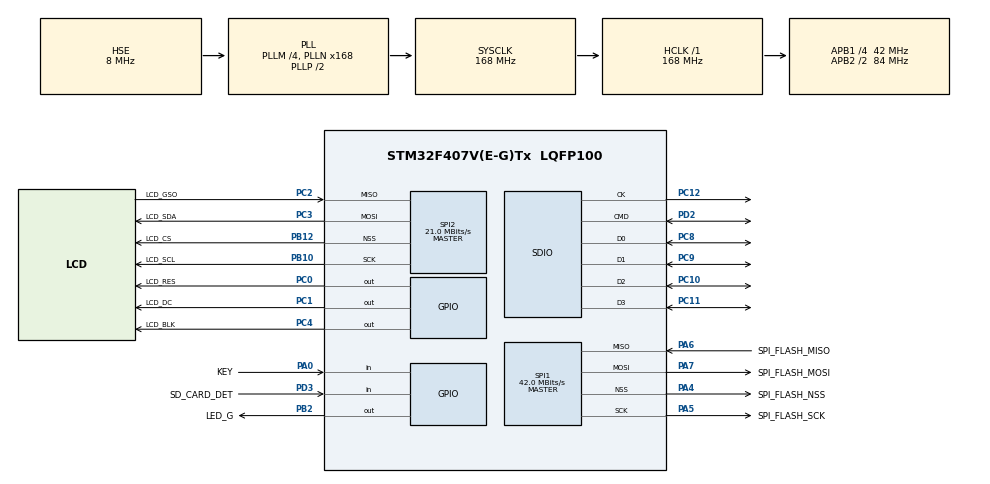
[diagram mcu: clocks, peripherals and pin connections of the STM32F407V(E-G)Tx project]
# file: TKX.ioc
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Dma.Request0=SDIO
Dma.Request1=SPI1_RX
Dma.Request2=SPI1_TX
Dma.Request3=SPI2_RX
Dma.Request4=SPI2_TX
Dma.SDIO.0.Direction=DMA_PERIPH_TO_MEMORY
Dma.SDIO.0.FIFOMode=DMA_FIFOMODE_ENABLE
Dma.SDIO.0.FIFOThreshold=DMA_FIFO_THRESHOLD_FULL
Dma.SDIO.0.Instance=DMA2_Stream3
Dma.SDIO.0.MemBurst=DMA_MBURST_INC4
Dma.SDIO.0.MemDataAlignment=DMA_MDATAALIGN_WORD
Dma.SDIO.0.MemInc=DMA_MINC_ENABLE
Dma.SDIO.0.Mode=DMA_PFCTRL
Dma.SDIO.0.PeriphBurst=DMA_PBURST_INC4
Dma.SDIO.0.PeriphDataAlignment=DMA_PDATAALIGN_WORD
Dma.SDIO.0.PeriphInc=DMA_PINC_DISABLE
Dma.SDIO.0.Priority=DMA_PRIORITY_HIGH
Dma.SPI1_RX.1.Direction=DMA_PERIPH_TO_MEMORY
Dma.SPI1_RX.1.FIFOMode=DMA_FIFOMODE_DISABLE
Dma.SPI1_RX.1.Instance=DMA2_Stream0
Dma.SPI1_RX.1.MemDataAlignment=DMA_MDATAALIGN_BYTE
Dma.SPI1_RX.1.MemInc=DMA_MINC_ENABLE
Dma.SPI1_RX.1.Mode=DMA_NORMAL
Dma.SPI1_RX.1.PeriphDataAlignment=DMA_PDATAALIGN_BYTE
Dma.SPI1_RX.1.PeriphInc=DMA_PINC_DISABLE
Dma.SPI1_RX.1.Priority=DMA_PRIORITY_LOW
Dma.SPI1_TX.2.Direction=DMA_MEMORY_TO_PERIPH
Dma.SPI1_TX.2.FIFOMode=DMA_FIFOMODE_DISABLE
Dma.SPI1_TX.2.Instance=DMA2_Stream5
Dma.SPI1_TX.2.MemDataAlignment=DMA_MDATAALIGN_BYTE
Dma.SPI1_TX.2.MemInc=DMA_MINC_ENABLE
Dma.SPI1_TX.2.Mode=DMA_NORMAL
Dma.SPI1_TX.2.PeriphDataAlignment=DMA_PDATAALIGN_BYTE
Dma.SPI1_TX.2.PeriphInc=DMA_PINC_DISABLE
Dma.SPI1_TX.2.Priority=DMA_PRIORITY_LOW
Dma.SPI2_RX.3.Direction=DMA_PERIPH_TO_MEMORY
Dma.SPI2_RX.3.FIFOMode=DMA_FIFOMODE_DISABLE
Dma.SPI2_RX.3.Instance=DMA1_Stream3
Dma.SPI2_RX.3.MemDataAlignment=DMA_MDATAALIGN_BYTE
Dma.SPI2_RX.3.MemInc=DMA_MINC_ENABLE
Dma.SPI2_RX.3.Mode=DMA_NORMAL
Dma.SPI2_RX.3.PeriphDataAlignment=DMA_PDATAALIGN_BYTE
Dma.SPI2_RX.3.PeriphInc=DMA_PINC_DISABLE
Dma.SPI2_RX.3.Priority=DMA_PRIORITY_LOW
Dma.SPI2_TX.4.Direction=DMA_MEMORY_TO_PERIPH
Dma.SPI2_TX.4.FIFOMode=DMA_FIFOMODE_ENABLE
Dma.SPI2_TX.4.FIFOThreshold=DMA_FIFO_THRESHOLD_FULL
Dma.SPI2_TX.4.Instance=DMA1_Stream4
Dma.SPI2_TX.4.MemBurst=DMA_MBURST_SINGLE
Dma.SPI2_TX.4.MemDataAlignment=DMA_MDATAALIGN_BYTE
Dma.SPI2_TX.4.MemInc=DMA_MINC_ENABLE
Dma.SPI2_TX.4.Mode=DMA_NORMAL
Dma.SPI2_TX.4.PeriphBurst=DMA_PBURST_SINGLE
Dma.SPI2_TX.4.PeriphDataAlignment=DMA_PDATAALIGN_BYTE
Dma.SPI2_TX.4.PeriphInc=DMA_PINC_DISABLE
Dma.SPI2_TX.4.Priority=DMA_PRIORITY_LOW
FATFS.BSP.number=1
FATFS0.BSP.STBoard=false
FATFS0.BSP.api=Unknown
FATFS0.BSP.instance=PD3
FATFS0.BSP.ip=GPIO
FATFS0.BSP.mode=Input
FATFS0.BSP.name=Detect_SDIO
FATFS0.BSP.solution=PD3
FREERTOS.INCLUDE_pcTaskGetTaskName=1
FREERTOS.Tasks01=defaultTask,24,128,StartDefaultTask,Default,NULL,Dynamic,NULL,NULL;keyTask,24,128,StartKeyTask,Default,NULL,Dynamic,NULL,NULL;ledTask,24,128,StartLedTask,Default,NULL,Dynamic,NULL,NULL;sdCardTask,24,256,StartSDCardTask,Default,NULL,Dynamic,NULL,NULL;lcdTask,24,512,StartLCDTask,Default,NULL,Dynamic,NULL,NULL
FREERTOS.configCHECK_FOR_STACK_OVERFLOW=1
FREERTOS.configENABLE_FPU=1
FREERTOS.configGENERATE_RUN_TIME_STATS=1
FREERTOS.configRECORD_STACK_HIGH_ADDRESS=1
Mcu.Family=STM32F4
Mcu.Name=STM32F407V(E-G)Tx
Mcu.Package=LQFP100
NVIC.DMA1_Stream3_IRQn=true\:5\:0\:false\:false\:true\:true\:false\:true\:true
NVIC.DMA1_Stream4_IRQn=true\:5\:0\:false\:false\:true\:true\:false\:true\:true
NVIC.DMA2_Stream0_IRQn=true\:5\:0\:false\:false\:true\:true\:false\:true\:true
NVIC.DMA2_Stream3_IRQn=true\:5\:0\:false\:false\:true\:true\:false\:true\:true
NVIC.DMA2_Stream5_IRQn=true\:5\:0\:false\:false\:true\:true\:false\:true\:true
NVIC.PriorityGroup=NVIC_PRIORITYGROUP_4
NVIC.TIM2_IRQn=true\:15\:0\:false\:false\:true\:false\:false\:true\:true
NVIC.TimeBase=TIM2_IRQn
NVIC.TimeBaseIP=TIM2
PA0-WKUP.GPIO_Label=KEY
PA0-WKUP.Signal=GPIO_Input
PA13.Mode=Trace_Asynchronous_SW
PA13.Signal=SYS_JTMS-SWDIO
PA14.Mode=Trace_Asynchronous_SW
PA14.Signal=SYS_JTCK-SWCLK
PA4.GPIO_Label=SPI_FLASH_NSS
PA4.Mode=NSS_Signal_Hard_Output
PA4.Signal=SPI1_NSS
PA5.GPIO_Label=SPI_FLASH_SCK
PA5.Mode=Full_Duplex_Master
PA5.Signal=SPI1_SCK
PA6.GPIO_Label=SPI_FLASH_MISO
PA6.Mode=Full_Duplex_Master
PA6.Signal=SPI1_MISO
PA7.GPIO_Label=SPI_FLASH_MOSI
PA7.Mode=Full_Duplex_Master
PA7.Signal=SPI1_MOSI
PB10.GPIO_Label=LCD_SCL
PB10.Mode=Full_Duplex_Master
PB10.Signal=SPI2_SCK
PB12.GPIO_Label=LCD_CS
PB12.Mode=NSS_Signal_Hard_Output
PB12.Signal=SPI2_NSS
PB2.GPIO_Label=LED_G
PB2.Signal=GPIO_Output
PB3.Mode=Trace_Asynchronous_SW
PB3.Signal=SYS_JTDO-SWO
PC0.GPIO_Label=LCD_RES
PC0.Signal=GPIO_Output
PC1.GPIO_Label=LCD_DC
PC1.Signal=GPIO_Output
PC10.Mode=SD_4_bits_Wide_bus
PC10.Signal=SDIO_D2
PC11.Mode=SD_4_bits_Wide_bus
PC11.Signal=SDIO_D3
PC12.Mode=SD_4_bits_Wide_bus
PC12.Signal=SDIO_CK
PC14-OSC32_IN.Mode=LSE-External-Oscillator
PC14-OSC32_IN.Signal=RCC_OSC32_IN
PC15-OSC32_OUT.Mode=LSE-External-Oscillator
PC15-OSC32_OUT.Signal=RCC_OSC32_OUT
PC2.GPIO_Label=LCD_GSO
PC2.Mode=Full_Duplex_Master
PC2.Signal=SPI2_MISO
PC3.GPIO_Label=LCD_SDA
PC3.Mode=Full_Duplex_Master
PC3.Signal=SPI2_MOSI
PC4.GPIO_Label=LCD_BLK
PC4.Signal=GPIO_Output
PC8.Mode=SD_4_bits_Wide_bus
PC8.Signal=SDIO_D0
PC9.Mode=SD_4_bits_Wide_bus
PC9.Signal=SDIO_D1
PD2.Mode=SD_4_bits_Wide_bus
PD2.Signal=SDIO_CMD
PD3.GPIO_Label=SD_CARD_DET
PD3.Signal=GPIO_Input
PH0-OSC_IN.Mode=HSE-External-Oscillator
PH0-OSC_IN.Signal=RCC_OSC_IN
PH1-OSC_OUT.Mode=HSE-External-Oscillator
PH1-OSC_OUT.Signal=RCC_OSC_OUT
ProjectManager.HeapSize=0x1800
ProjectManager.StackSize=0x800
ProjectManager.TargetToolchain=CMake
RCC.48MHZClocksFreq_Value=48000000
RCC.AHBFreq_Value=168000000
RCC.APB1CLKDivider=RCC_HCLK_DIV4
RCC.APB1Freq_Value=42000000
RCC.APB1TimFreq_Value=84000000
RCC.APB2CLKDivider=RCC_HCLK_DIV2
RCC.APB2Freq_Value=84000000
RCC.APB2TimFreq_Value=168000000
RCC.CortexFreq_Value=168000000
RCC.HCLKFreq_Value=168000000
RCC.HSE_VALUE=8000000
RCC.HSI_VALUE=16000000
RCC.PLLM=4
RCC.PLLN=168
RCC.PLLQ=7
RCC.PLLSourceVirtual=RCC_PLLSOURCE_HSE
RCC.SYSCLKFreq_VALUE=168000000
RCC.SYSCLKSource=RCC_SYSCLKSOURCE_PLLCLK
RCC.VCOOutputFreq_Value=336000000
SDIO.ClockBypass=SDIO_CLOCK_BYPASS_DISABLE
SDIO.ClockDiv=2
SPI1.BaudRatePrescaler=SPI_BAUDRATEPRESCALER_2
SPI1.CalculateBaudRate=42.0 MBits/s
SPI1.Direction=SPI_DIRECTION_2LINES
SPI1.Mode=SPI_MODE_MASTER
SPI1.VirtualNSS=VM_NSSHARD
SPI1.VirtualType=VM_MASTER
SPI2.CalculateBaudRate=21.0 MBits/s
SPI2.Direction=SPI_DIRECTION_2LINES
SPI2.Mode=SPI_MODE_MASTER
SPI2.VirtualNSS=VM_NSSHARD
SPI2.VirtualType=VM_MASTER
VP_FATFS_VS_SDIO.Mode=SDIO
VP_FREERTOS_VS_CMSIS_V2.Mode=CMSIS_V2
VP_SYS_VS_tim2.Mode=TIM2
board=custom

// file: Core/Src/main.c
/* USER CODE BEGIN Header */
/**
 ******************************************************************************
 * @file           : main.c
 * @brief          : Main program body
 ******************************************************************************
 * @attention
 *
 * Copyright (c) 2025 STMicroelectronics.
 * All rights reserved.
 *
 * This software is licensed under terms that can be found in the LICENSE file
 * in the root directory of this software component.
 * If no LICENSE file comes with this software, it is provided AS-IS.
 *
 ******************************************************************************
 */
/* USER CODE END Header */
#include "main.h"
#include "cmsis_os.h"
#include "dma.h"
#include "fatfs.h"
#include "sdio.h"
#include "spi.h"
#include "gpio.h"

void SystemClock_Config(void);
void MX_FREERTOS_Init(void);

int main(void)
{

  /* MCU Configuration--------------------------------------------------------*/

  /* Reset of all peripherals, Initializes the Flash interface and the Systick. */
  HAL_Init();

  /* Configure the system clock */
  SystemClock_Config();

  /* Initialize all configured peripherals */
  MX_GPIO_Init();
  MX_DMA_Init();
  MX_SDIO_SD_Init();
  MX_SPI1_Init();
  MX_FATFS_Init();
  MX_SPI2_Init();
  /* USER CODE BEGIN 2 */
  HAL_SD_DeInit(&hsd);  // 先反初始化

  // 按照正确的流程重新配置并初始化
  hsd.Init.BusWide = SDIO_BUS_WIDE_1B;
  if (HAL_SD_Init(&hsd) != HAL_OK) {
    Error_Handler();
  }

  if (HAL_SD_ConfigWideBusOperation(&hsd, SDIO_BUS_WIDE_4B) != HAL_OK) {
    Error_Handler();
  }
  /* USER CODE END 2 */

  /* Init scheduler */
  osKernelInitialize();

  /* Call init function for freertos objects (in cmsis_os2.c) */
  MX_FREERTOS_Init();

  /* Start scheduler */
  osKernelStart();

  /* We should never get here as control is now taken by the scheduler */

  /* Infinite loop */
  while (1) {

  }
}

void SystemClock_Config(void)
{
  RCC_OscInitTypeDef RCC_OscInitStruct = {0};
  RCC_ClkInitTypeDef RCC_ClkInitStruct = {0};

  /** Configure the main internal regulator output voltage
  */
  __HAL_RCC_PWR_CLK_ENABLE();
  __HAL_PWR_VOLTAGESCALING_CONFIG(PWR_REGULATOR_VOLTAGE_SCALE1);

  /** Initializes the RCC Oscillators according to the specified parameters
  * in the RCC_OscInitTypeDef structure.
  */
  RCC_OscInitStruct.OscillatorType = RCC_OSCILLATORTYPE_HSE;
  RCC_OscInitStruct.HSEState = RCC_HSE_ON;
  RCC_OscInitStruct.PLL.PLLState = RCC_PLL_ON;
  RCC_OscInitStruct.PLL.PLLSource = RCC_PLLSOURCE_HSE;
  RCC_OscInitStruct.PLL.PLLM = 4;
  RCC_OscInitStruct.PLL.PLLN = 168;
  RCC_OscInitStruct.PLL.PLLP = RCC_PLLP_DIV2;
  RCC_OscInitStruct.PLL.PLLQ = 7;
  if (HAL_RCC_OscConfig(&RCC_OscInitStruct) != HAL_OK)
  {
    Error_Handler();
  }

  /** Initializes the CPU, AHB and APB buses clocks
  */
  RCC_ClkInitStruct.ClockType = RCC_CLOCKTYPE_HCLK|RCC_CLOCKTYPE_SYSCLK
                              |RCC_CLOCKTYPE_PCLK1|RCC_CLOCKTYPE_PCLK2;
  RCC_ClkInitStruct.SYSCLKSource = RCC_SYSCLKSOURCE_PLLCLK;
  RCC_ClkInitStruct.AHBCLKDivider = RCC_SYSCLK_DIV1;
  RCC_ClkInitStruct.APB1CLKDivider = RCC_HCLK_DIV4;
  RCC_ClkInitStruct.APB2CLKDivider = RCC_HCLK_DIV2;

  if (HAL_RCC_ClockConfig(&RCC_ClkInitStruct, FLASH_LATENCY_5) != HAL_OK)
  {
    Error_Handler();
  }
}

void HAL_TIM_PeriodElapsedCallback(TIM_HandleTypeDef *htim)
{
  if (htim->Instance == TIM2) {
    HAL_IncTick();
  }
}

void Error_Handler(void)
{
  /* USER CODE BEGIN Error_Handler_Debug */
  /* User can add his own implementation to report the HAL error return state */
  __disable_irq();
  __asm volatile("BKPT #0");
  while (1) {
  }
  /* USER CODE END Error_Handler_Debug */
}

#ifdef  USE_FULL_ASSERT
/**
  * @brief  Reports the name of the source file and the source line number
  *         where the assert_param error has occurred.
  * @param  file: pointer to the source file name
  * @param  line: assert_param error line source number
  * @retval None
  */
void assert_failed(uint8_t *file, uint32_t line)
{
  /* USER CODE BEGIN 6 */
  /* User can add his own implementation to report the file name and line
     number, ex: printf("Wrong parameters value: file %s on line %d\r\n", file,
     line) */
  /* USER CODE END 6 */
}
#endif /* USE_FULL_ASSERT */

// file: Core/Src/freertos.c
/* USER CODE BEGIN Header */
/**
 ******************************************************************************
 * File Name          : freertos.c
 * Description        : Code for freertos applications
 ******************************************************************************
 * @attention
 *
 * Copyright (c) 2025 STMicroelectronics.
 * All rights reserved.
 *
 * This software is licensed under terms that can be found in the LICENSE file
 * in the root directory of this software component.
 * If no LICENSE file comes with this software, it is provided AS-IS.
 *
 ******************************************************************************
 */
/* USER CODE END Header */

#include "FreeRTOS.h"
#include "task.h"
#include "main.h"
#include "cmsis_os.h"

/* USER CODE BEGIN Includes */
#include "fatfs.h"
#include "fps.h"
#include "gpio.h"
#include "lcd.h"
#include "lcd_init.h"
#include "sdio.h"
#include "stdbool.h"
#include "string.h"
/* USER CODE END Includes */

/* USER CODE BEGIN PTD */
typedef enum {
  LED_MODE_OFF = 0,
  LED_MODE_SLOW_BLINK,
  LED_MODE_FAST_BLINK,
  LED_MODE_ON,
  LED_MODE_COUNT
} LED_Mode_t;

typedef enum { KEY_STATE_RELEASED = 0, KEY_STATE_PRESSED } Key_State_t;

typedef enum { SD_CARD_NOT_DETECTED = 0, SD_CARD_DETECTED } SD_Card_State_t;

typedef enum {
  LCD_MODE_OFF = 0,
  LCD_MODE_COLOR_BLOCKS,
  LCD_MODE_GRADIENT_STRIPES,
  LCD_MODE_CONCENTRIC_SQUARES,
  LCD_MODE_COLOR_GRID,
  LCD_MODE_RIPPLE_CIRCLES,
  LCD_MODE_TEXT_DISPLAY,
  LCD_MODE_COUNT
} LCD_Mode_t;

typedef enum {
  MSG_TYPE_LCD_MODE_CHANGE = 0,
  MSG_TYPE_LED_MODE_CHANGE,
  MSG_TYPE_SYSTEM_STATUS
} Message_Type_t;

typedef struct {
  Message_Type_t type;
  union {
    LCD_Mode_t lcd_mode;
    LED_Mode_t led_mode;
    uint32_t system_status;
  } data;
  uint32_t timestamp;
} System_Message_t;

typedef struct {
  uint32_t frame_times[FPS_SAMPLE_COUNT];  // Ring buffer for frame times
  uint8_t current_index;                   // Current index in ring buffer
  uint8_t sample_count;                    // Number of valid samples
  uint32_t last_frame_time;                // Time of last frame
  float current_fps;                       // Current calculated FPS
  uint32_t frame_counter;                  // Total frame counter
  int last_displayed_fps;                  // Last FPS value displayed on screen
} FPS_Calculator_t;

// Smart refresh system for LCD optimization
typedef struct {
  uint32_t last_frame_hash;               // Hash of last rendered frame
  uint32_t last_animation_frame;          // Last animation frame number
  LCD_Mode_t last_active_mode;            // Last active LCD mode
  bool force_full_refresh;                // Force full screen refresh flag
  bool fps_area_dirty;                    // FPS display area needs refresh

  // Dirty regions tracking
  struct {
    uint16_t x, y, w, h;                  // Rectangle coordinates
    bool is_dirty;                        // Needs refresh
  } dirty_regions[8];                     // Track up to 8 dirty regions
  uint8_t dirty_count;                    // Number of dirty regions

  // Performance counters
  uint32_t full_refreshes;                // Count of full screen refreshes
  uint32_t partial_refreshes;             // Count of partial refreshes
  uint32_t skipped_frames;                // Count of skipped frames
} SmartRefresh_t;
/* USER CODE END PTD */

/* USER CODE BEGIN PD */
#define KEY_DEBOUNCE_TIME 50        // 50ms debounce time
#define LED_SLOW_BLINK_PERIOD 1000  // 1000ms period for slow blink
#define LED_FAST_BLINK_PERIOD 200   // 200ms period for fast blink
#define SD_CARD_DEBOUNCE_TIME 100   // 100ms debounce time for SD card detection

// FPS calculation constants
#define FPS_SAMPLE_COUNT 10         // Number of samples for FPS averaging
#define FPS_UPDATE_INTERVAL 5       // Update FPS display every N frames

// Smart refresh constants
#define MAX_DIRTY_REGIONS 8         // Maximum number of dirty regions to track
#define MIN_REFRESH_AREA 64         // Minimum area (pixels) to consider for partial refresh
#define HASH_PRIME 31               // Prime number for hash calculation

/* USER CODE END PD */

/* USER CODE BEGIN Variables */
static LED_Mode_t current_led_mode = LED_MODE_OFF;
static LCD_Mode_t current_lcd_mode = LCD_MODE_OFF;
static Key_State_t last_key_state = KEY_STATE_RELEASED;
static SD_Card_State_t last_sd_card_state = SD_CARD_NOT_DETECTED;
static uint8_t sd_card_initialized = 0;

// Message queues
static osMessageQueueId_t lcd_message_queue;
static osMessageQueueId_t led_message_queue;

// FPS calculator instance
static FPS_Calculator_t fps_calc = {0};

// Smart refresh system instance
static SmartRefresh_t smart_refresh = {0};
/* USER CODE END Variables */
/* Definitions for defaultTask */
osThreadId_t defaultTaskHandle;
const osThreadAttr_t defaultTask_attributes = {
  .name = "defaultTask",
  .stack_size = 128 * 4,
  .priority = (osPriority_t) osPriorityNormal,
};
/* Definitions for keyTask */
osThreadId_t keyTaskHandle;
const osThreadAttr_t keyTask_attributes = {
  .name = "keyTask",
  .stack_size = 128 * 4,
  .priority = (osPriority_t) osPriorityNormal,
};
/* Definitions for ledTask */
osThreadId_t ledTaskHandle;
const osThreadAttr_t ledTask_attributes = {
  .name = "ledTask",
  .stack_size = 128 * 4,
  .priority = (osPriority_t) osPriorityNormal,
};
/* Definitions for sdCardTask */
osThreadId_t sdCardTaskHandle;
const osThreadAttr_t sdCardTask_attributes = {
  .name = "sdCardTask",
  .stack_size = 256 * 4,
  .priority = (osPriority_t) osPriorityNormal,
};
/* Definitions for lcdTask */
osThreadId_t lcdTaskHandle;
const osThreadAttr_t lcdTask_attributes = {
  .name = "lcdTask",
  .stack_size = 512 * 4,
  .priority = (osPriority_t) osPriorityNormal,
};

/* USER CODE BEGIN FunctionPrototypes */
void StartKeyTask(void *argument);
void StartLedTask(void *argument);
void StartSDCardTask(void *argument);
void StartLCDTask(void *argument);

// FPS calculation functions
void FPS_Init(FPS_Calculator_t *fps);
void FPS_UpdateFrame(FPS_Calculator_t *fps);
float FPS_GetCurrent(FPS_Calculator_t *fps);
void FPS_DisplayOnLCD(FPS_Calculator_t *fps, int x, int y);

// Smart refresh functions
void SmartRefresh_Init(SmartRefresh_t *sr);
uint32_t SmartRefresh_CalculateFrameHash(LCD_Mode_t mode, uint32_t frame, uint8_t *colors, uint8_t color_count);
bool SmartRefresh_ShouldUpdate(SmartRefresh_t *sr, LCD_Mode_t mode, uint32_t frame);
void SmartRefresh_AddDirtyRegion(SmartRefresh_t *sr, uint16_t x, uint16_t y, uint16_t w, uint16_t h);
void SmartRefresh_ClearDirtyRegions(SmartRefresh_t *sr);
void SmartRefresh_ForceFullRefresh(SmartRefresh_t *sr);
bool FPS_ShouldUpdateDisplay(FPS_Calculator_t *fps);
/* USER CODE END FunctionPrototypes */

void StartDefaultTask(void *argument);
void StartKeyTask(void *argument);
void StartLedTask(void *argument);
void StartSDCardTask(void *argument);
void StartLCDTask(void *argument);

void MX_FREERTOS_Init(void); /* (MISRA C 2004 rule 8.1) */

/* Hook prototypes */
void configureTimerForRunTimeStats(void);
unsigned long getRunTimeCounterValue(void);
void vApplicationStackOverflowHook(xTaskHandle xTask, signed char *pcTaskName);

/* USER CODE BEGIN 1 */
/* Functions needed when configGENERATE_RUN_TIME_STATS is on */
__weak void configureTimerForRunTimeStats(void)
{

}

__weak unsigned long getRunTimeCounterValue(void)
{
return 0;
}
/* USER CODE END 1 */

/* USER CODE BEGIN 4 */
void vApplicationStackOverflowHook(xTaskHandle xTask, signed char *pcTaskName) {
  /* Run time stack overflow checking is performed if
  configCHECK_FOR_STACK_OVERFLOW is defined to 1 or 2. This hook function is
  called if a stack overflow is detected. */
  (void)xTask;
  (void)pcTaskName;
}
/* USER CODE END 4 */

void MX_FREERTOS_Init(void) {

  /* USER CODE BEGIN RTOS_QUEUES */
  // Create message queues
  lcd_message_queue = osMessageQueueNew(5, sizeof(System_Message_t), NULL);
  led_message_queue = osMessageQueueNew(5, sizeof(System_Message_t), NULL);

  if (lcd_message_queue == NULL || led_message_queue == NULL) {
    // Queue creation failed - handle error
    Error_Handler();
  }
  /* USER CODE END RTOS_QUEUES */

  /* Create the thread(s) */
  /* creation of defaultTask */
  defaultTaskHandle = osThreadNew(StartDefaultTask, NULL, &defaultTask_attributes);

  /* creation of keyTask */
  keyTaskHandle = osThreadNew(StartKeyTask, NULL, &keyTask_attributes);

  /* creation of ledTask */
  ledTaskHandle = osThreadNew(StartLedTask, NULL, &ledTask_attributes);

  /* creation of sdCardTask */
  sdCardTaskHandle = osThreadNew(StartSDCardTask, NULL, &sdCardTask_attributes);

  /* creation of lcdTask */
  lcdTaskHandle = osThreadNew(StartLCDTask, NULL, &lcdTask_attributes);

}

void StartDefaultTask(void *argument)
{
  /* USER CODE BEGIN StartDefaultTask */
  (void)argument;
  /* Infinite loop */
  for (;;) {
    // Simple system monitoring - can be used for watchdog, statistics, etc.
    osDelay(1000);  // Run every 1 second
  }
  /* USER CODE END StartDefaultTask */
}

void StartKeyTask(void *argument)
{
  /* USER CODE BEGIN StartKeyTask */
  (void)argument;
  Key_State_t current_key_state;
  System_Message_t message;

  for (;;) {
    // Read current key state (assuming active low)
    current_key_state =
        (HAL_GPIO_ReadPin(KEY_GPIO_Port, KEY_Pin) == GPIO_PIN_RESET)
            ? KEY_STATE_PRESSED
            : KEY_STATE_RELEASED;

    // Check for key press (rising edge from released to pressed)
    if (current_key_state == KEY_STATE_PRESSED &&
        last_key_state == KEY_STATE_RELEASED) {
      // Calculate next modes
      LED_Mode_t next_led_mode = (current_led_mode + 1) % LED_MODE_COUNT;
      LCD_Mode_t next_lcd_mode = (current_lcd_mode + 1) % LCD_MODE_COUNT;

      // Send LED mode change message
      message.type = MSG_TYPE_LED_MODE_CHANGE;
      message.data.led_mode = next_led_mode;
      message.timestamp = osKernelGetTickCount();

      osStatus_t status = osMessageQueuePut(led_message_queue, &message, 0, 0);
      if (status == osOK) {
        current_led_mode = next_led_mode;
      }

      // Send LCD mode change message
      message.type = MSG_TYPE_LCD_MODE_CHANGE;
      message.data.lcd_mode = next_lcd_mode;
      message.timestamp = osKernelGetTickCount();

      status = osMessageQueuePut(lcd_message_queue, &message, 0, 0);
      if (status == osOK) {
        current_lcd_mode = next_lcd_mode;
      }

      // Wait for debounce
      osDelay(KEY_DEBOUNCE_TIME);
    }

    last_key_state = current_key_state;
    osDelay(10);  // Check key every 10ms
  }
  /* USER CODE END StartKeyTask */
}

void StartLedTask(void *argument)
{
  /* USER CODE BEGIN StartLedTask */
  (void)argument;
  uint32_t led_counter = 0;
  GPIO_PinState led_state = GPIO_PIN_RESET;
  System_Message_t message;
  LED_Mode_t active_led_mode = LED_MODE_OFF;

  for (;;) {
    // Check for mode change messages (non-blocking)
    osStatus_t status = osMessageQueueGet(led_message_queue, &message, NULL, 0);
    if (status == osOK && message.type == MSG_TYPE_LED_MODE_CHANGE) {
      active_led_mode = message.data.led_mode;
      led_counter = 0;  // Reset counter on mode change
    }

    switch (active_led_mode) {
      case LED_MODE_OFF:
        HAL_GPIO_WritePin(LED_G_GPIO_Port, LED_G_Pin, GPIO_PIN_RESET);
        osDelay(100);
        break;

      case LED_MODE_SLOW_BLINK:
        led_counter++;
        if (led_counter >= (LED_SLOW_BLINK_PERIOD / 100)) {
          led_state =
              (led_state == GPIO_PIN_RESET) ? GPIO_PIN_SET : GPIO_PIN_RESET;
          HAL_GPIO_WritePin(LED_G_GPIO_Port, LED_G_Pin, led_state);
          led_counter = 0;
        }
        osDelay(100);
        break;

      case LED_MODE_FAST_BLINK:
        led_counter++;
        if (led_counter >= (LED_FAST_BLINK_PERIOD / 100)) {
          led_state =
              (led_state == GPIO_PIN_RESET) ? GPIO_PIN_SET : GPIO_PIN_RESET;
          HAL_GPIO_WritePin(LED_G_GPIO_Port, LED_G_Pin, led_state);
          led_counter = 0;
        }
        osDelay(100);
        break;

      case LED_MODE_ON:
        HAL_GPIO_WritePin(LED_G_GPIO_Port, LED_G_Pin, GPIO_PIN_SET);
        osDelay(100);
        break;

      default:
        active_led_mode = LED_MODE_OFF;
        break;
    }
  }
  /* USER CODE END StartLedTask */
}

void StartSDCardTask(void *argument)
{
  /* USER CODE BEGIN StartSDCardTask */
  (void)argument;
  SD_Card_State_t current_sd_card_state;

  for (;;) {
    // Read current SD card detection state (assuming active low - card present
    // when pin is low)
    current_sd_card_state =
        (HAL_GPIO_ReadPin(SD_CARD_DET_GPIO_Port, SD_CARD_DET_Pin) ==
         GPIO_PIN_RESET)
            ? SD_CARD_DETECTED
            : SD_CARD_NOT_DETECTED;

    // Check for SD card insertion (change from not detected to detected)
    if (current_sd_card_state == SD_CARD_DETECTED &&
        last_sd_card_state == SD_CARD_NOT_DETECTED) {
      // SD card inserted, wait for debounce
      osDelay(SD_CARD_DEBOUNCE_TIME);

      // Re-check state after debounce
      current_sd_card_state =
          (HAL_GPIO_ReadPin(SD_CARD_DET_GPIO_Port, SD_CARD_DET_Pin) ==
           GPIO_PIN_RESET)
              ? SD_CARD_DETECTED
              : SD_CARD_NOT_DETECTED;

      if (current_sd_card_state == SD_CARD_DETECTED && !sd_card_initialized) {
        // Initialize SD card with simplified error handling
        HAL_StatusTypeDef sd_init_result = HAL_OK;

        // Reset SD handle before initialization
        HAL_SD_DeInit(&hsd);
        osDelay(50);  // Longer delay after deinit

        // Try to initialize SD card using enhanced function
        sd_init_result = SD_Init_Enhanced();

        // Check if initialization was successful
        if (sd_init_result == HAL_OK &&
            HAL_SD_GetState(&hsd) == HAL_SD_STATE_READY) {
          // Try to mount FATFS
          FRESULT mount_result = SD_Mount_FATFS();
          if (mount_result == FR_OK) {
            sd_card_initialized = 1;
            // SD card successfully initialized and mounted
          }
        } else {
          // SD card initialization failed, wait longer before next attempt
          osDelay(2000);  // Wait 2 seconds before next attempt
        }
      }
    }
    // Check for SD card removal (change from detected to not detected)
    else if (current_sd_card_state == SD_CARD_NOT_DETECTED &&
             last_sd_card_state == SD_CARD_DETECTED) {
      // SD card removed, wait for debounce
      osDelay(SD_CARD_DEBOUNCE_TIME);

      // Re-check state after debounce
      current_sd_card_state =
          (HAL_GPIO_ReadPin(SD_CARD_DET_GPIO_Port, SD_CARD_DET_Pin) ==
           GPIO_PIN_RESET)
              ? SD_CARD_DETECTED
              : SD_CARD_NOT_DETECTED;

      if (current_sd_card_state == SD_CARD_NOT_DETECTED &&
          sd_card_initialized) {
        // Deinitialize SD card
        HAL_SD_DeInit(&hsd);
        sd_card_initialized = 0;
        // You can add code here to unmount filesystem, etc.
      }
    }

    last_sd_card_state = current_sd_card_state;
    osDelay(50);  // Check SD card every 50ms
  }
  /* USER CODE END StartSDCardTask */
}

void StartLCDTask(void *argument)
{
  /* USER CODE BEGIN StartLCDTask */
  (void)argument;

  // Initialize LCD
  LCD_Init();

  // Initialize FPS calculator
  FPS_Init(&fps_calc);

  // Initialize Smart Refresh system
  SmartRefresh_Init(&smart_refresh);

  // 定义颜色数组
  uint16_t colors[] = {RED, GREEN, BLUE, YELLOW, CYAN, MAGENTA, WHITE, BLACK};
  uint8_t color_count = sizeof(colors) / sizeof(colors[0]);

  LCD_Mode_t active_lcd_mode = LCD_MODE_OFF;
  LCD_Mode_t last_lcd_mode = LCD_MODE_COUNT;  // Force initial update
  uint32_t animation_frame = 0;
  System_Message_t message;

  // LCD animation and display loop
  for (;;) {
    bool fps_needs_update = false;  // Declare at loop scope

    // Check for mode change messages with timeout for animation update
    osStatus_t status =
        osMessageQueueGet(lcd_message_queue, &message, NULL, 50);
    if (status == osOK && message.type == MSG_TYPE_LCD_MODE_CHANGE) {
      active_lcd_mode = message.data.lcd_mode;
      // Force refresh when mode changes
      SmartRefresh_ForceFullRefresh(&smart_refresh);
    }

    // Check if mode changed, reset animation frame
    if (active_lcd_mode != last_lcd_mode) {
      animation_frame = 0;
      last_lcd_mode = active_lcd_mode;
    }

    // Check if frame needs updating using smart refresh
    bool should_render = SmartRefresh_ShouldUpdate(&smart_refresh, active_lcd_mode, animation_frame);

    // Check if FPS display needs updating
    fps_needs_update = (fps_calc.frame_counter % FPS_UPDATE_INTERVAL == 0) && FPS_ShouldUpdateDisplay(&fps_calc);
    if (fps_needs_update) {
      smart_refresh.fps_area_dirty = true;
      should_render = true;
    }

    // Skip rendering if no update needed
    if (!should_render) {
      // Update FPS calculation even if we skip rendering
      FPS_UpdateFrame(&fps_calc);
      continue;
    }

    switch (active_lcd_mode) {
      case LCD_MODE_OFF:
        LCD_Fill(0, 0, LCD_W, LCD_H, BLACK);
        // No additional delay needed as osMessageQueueGet provides timeout
        break;

      case LCD_MODE_COLOR_BLOCKS:
        // 彩色方块动画
        {
          uint8_t color_idx = (animation_frame / 2) % color_count;
          LCD_Fill(0, 0, LCD_W, LCD_H, colors[color_idx]);
          animation_frame++;
        }
        break;

      case LCD_MODE_GRADIENT_STRIPES:
        // 渐变条纹动画
        {
          for (int y = 0; y < LCD_H; y += 4) {
            uint16_t color_idx = (animation_frame + y / 4) % color_count;
            LCD_Fill(0, y, LCD_W, y + 4, colors[color_idx]);
          }
          animation_frame++;
        }
        break;

      case LCD_MODE_CONCENTRIC_SQUARES:
        // 同心方块动画
        {
          LCD_Fill(0, 0, LCD_W, LCD_H, BLACK);

          int size = ((animation_frame % 60) * 4);
          if (size > LCD_W / 2)
            size = LCD_W - ((animation_frame % 60) - LCD_W / 8) * 4;

          if (size > 0) {
            int x = (LCD_W - size) / 2;
            int y = (LCD_H - size) / 2;

            uint16_t color = colors[(animation_frame / 5) % color_count];
            LCD_Fill(x, y, x + size, y + size, color);
          }

          animation_frame++;
        }
        break;

      case LCD_MODE_COLOR_GRID:
        // 彩色网格动画 (slower update every 3 frames)
        {
          if (animation_frame % 3 == 0) {
            for (int x = 0; x < LCD_W; x += 20) {
              for (int y = 0; y < LCD_H; y += 20) {
                uint16_t color =
                    colors[(x / 20 + y / 20 + animation_frame / 3) %
                           color_count];
                LCD_Fill(x, y, x + 20, y + 20, color);
              }
            }
          }
          animation_frame++;
        }
        break;

      case LCD_MODE_RIPPLE_CIRCLES:
        // 圆形波纹动画
        {
          LCD_Fill(0, 0, LCD_W, LCD_H, BLACK);

          int center_x = LCD_W / 2;
          int center_y = LCD_H / 2;

          for (int radius = 5; radius < 120; radius += 15) {
            int animated_radius = radius + (animation_frame * 2) % 30 - 15;
            if (animated_radius > 5 && animated_radius < 120) {
              uint16_t color =
                  colors[(radius / 15 + animation_frame / 5) % color_count];
              Draw_Circle(center_x, center_y, animated_radius, color);
            }
          }
          animation_frame++;
        }
        break;

      case LCD_MODE_TEXT_DISPLAY:
        // 文字显示动画 (slower update every 4 frames)
        {
          if (animation_frame % 4 == 0) {
            LCD_Fill(0, 0, LCD_W, LCD_H, BLACK);

            const char *text = "TKX LCD";
            int text_x = 60;
            int text_y = 100;

            // Show characters one by one based on animation frame
            int text_len = 7;  // Length of "TKX LCD"
            int chars_to_show = (animation_frame / 20) %
                                (text_len + 5);  // +5 for pause between cycles

            for (int i = 0; i < chars_to_show && i < text_len; i++) {
              uint16_t color = colors[i % color_count];
              LCD_ShowChar(text_x + i * 24, text_y, text[i], color, BLACK, 32,
                           0);
            }
          }

          animation_frame++;
        }
        break;

      default:
        active_lcd_mode = LCD_MODE_OFF;
        break;
    }

    // Update performance counters
    if (smart_refresh.force_full_refresh || (active_lcd_mode != LCD_MODE_OFF)) {
      smart_refresh.full_refreshes++;
    } else if (smart_refresh.fps_area_dirty) {
      smart_refresh.partial_refreshes++;
    }

    // Clear dirty regions after rendering
    SmartRefresh_ClearDirtyRegions(&smart_refresh);

    // Update FPS calculation
    FPS_UpdateFrame(&fps_calc);

    // Display FPS in top-right corner (only when needed)
    if (smart_refresh.fps_area_dirty || fps_needs_update) {
      FPS_DisplayOnLCD(&fps_calc, LCD_W - 72, 5);  // Position at top-right
    }

    // Increment animation frame for next iteration
    animation_frame++;
  }
  /* USER CODE END StartLCDTask */
}

/* USER CODE BEGIN Application */

// Initialize Smart Refresh system
void SmartRefresh_Init(SmartRefresh_t *sr) {
  sr->last_frame_hash = 0;
  sr->last_animation_frame = 0;
  sr->last_active_mode = LCD_MODE_COUNT; // Force initial refresh
  sr->force_full_refresh = true;
  sr->fps_area_dirty = false;
  sr->dirty_count = 0;
  sr->full_refreshes = 0;
  sr->partial_refreshes = 0;
  sr->skipped_frames = 0;

  // Clear all dirty regions
  for(int i = 0; i < MAX_DIRTY_REGIONS; i++) {
    sr->dirty_regions[i].is_dirty = false;
  }
}

// Calculate a simple hash for the current frame state
uint32_t SmartRefresh_CalculateFrameHash(LCD_Mode_t mode, uint32_t frame, uint8_t *colors, uint8_t color_count) {
  uint32_t hash = 0;
  (void)colors;  // Parameter reserved for future use

  // Hash the mode
  hash = hash * HASH_PRIME + (uint32_t)mode;

  // Hash the frame number (with some dampening for smooth animations)
  switch(mode) {
    case LCD_MODE_COLOR_BLOCKS:
      hash = hash * HASH_PRIME + (frame / 2);  // Changes every 2 frames
      break;
    case LCD_MODE_GRADIENT_STRIPES:
      hash = hash * HASH_PRIME + frame;        // Changes every frame
      break;
    case LCD_MODE_CONCENTRIC_SQUARES:
      hash = hash * HASH_PRIME + (frame % 60); // 60-frame cycle
      break;
    case LCD_MODE_COLOR_GRID:
      hash = hash * HASH_PRIME + (frame / 3);  // Changes every 3 frames
      break;
    case LCD_MODE_RIPPLE_CIRCLES:
      hash = hash * HASH_PRIME + frame;        // Changes every frame
      break;
    case LCD_MODE_TEXT_DISPLAY:
      hash = hash * HASH_PRIME + (frame / 20); // Changes every 20 frames
      break;
    case LCD_MODE_OFF:
    default:
      hash = hash * HASH_PRIME + 0;            // Static
      break;
  }

  // Add color count to hash (for variety)
  hash = hash * HASH_PRIME + color_count;

  return hash;
}

// Check if frame needs to be updated
bool SmartRefresh_ShouldUpdate(SmartRefresh_t *sr, LCD_Mode_t mode, uint32_t frame) {
  // Force refresh if mode changed
  if(mode != sr->last_active_mode) {
    sr->force_full_refresh = true;
    sr->last_active_mode = mode;
    return true;
  }

  // Force refresh if explicitly requested
  if(sr->force_full_refresh) {
    return true;
  }

  // Calculate current frame hash
  uint8_t colors[] = {1, 2, 3, 4, 5, 6, 7, 8}; // Dummy colors for hash
  uint32_t current_hash = SmartRefresh_CalculateFrameHash(mode, frame, colors, 8);

  // Check if frame content has changed
  if(current_hash != sr->last_frame_hash) {
    sr->last_frame_hash = current_hash;
    sr->last_animation_frame = frame;
    return true;
  }

  // Check if we have any dirty regions (like FPS updates)
  if(sr->dirty_count > 0 || sr->fps_area_dirty) {
    return true;
  }

  // No update needed
  sr->skipped_frames++;
  return false;
}

// Add a dirty region for partial refresh
void SmartRefresh_AddDirtyRegion(SmartRefresh_t *sr, uint16_t x, uint16_t y, uint16_t w, uint16_t h) {
  // Only add if area is significant enough
  if(w * h < MIN_REFRESH_AREA) {
    return;
  }

  // Find an empty slot or merge with existing region
  for(int i = 0; i < MAX_DIRTY_REGIONS; i++) {
    if(!sr->dirty_regions[i].is_dirty) {
      sr->dirty_regions[i].x = x;
      sr->dirty_regions[i].y = y;
      sr->dirty_regions[i].w = w;
      sr->dirty_regions[i].h = h;
      sr->dirty_regions[i].is_dirty = true;
      sr->dirty_count++;
      return;
    }
  }

  // If no empty slot, force full refresh
  sr->force_full_refresh = true;
}

// Clear all dirty regions after refresh
void SmartRefresh_ClearDirtyRegions(SmartRefresh_t *sr) {
  for(int i = 0; i < MAX_DIRTY_REGIONS; i++) {
    sr->dirty_regions[i].is_dirty = false;
  }
  sr->dirty_count = 0;
  sr->fps_area_dirty = false;
  sr->force_full_refresh = false;
}

// Force a full screen refresh
void SmartRefresh_ForceFullRefresh(SmartRefresh_t *sr) {
  sr->force_full_refresh = true;
  SmartRefresh_ClearDirtyRegions(sr);
}

// Initialize FPS calculator
void FPS_Init(FPS_Calculator_t *fps) {
  for (int i = 0; i < FPS_SAMPLE_COUNT; i++) {
    fps->frame_times[i] = 0;
  }
  fps->current_index = 0;
  fps->sample_count = 0;
  fps->last_frame_time = osKernelGetTickCount();
  fps->current_fps = 0.0f;
  fps->frame_counter = 0;
  fps->last_displayed_fps = -1;  // Force initial display
}

// Update frame timing and calculate FPS
void FPS_UpdateFrame(FPS_Calculator_t *fps) {
  uint32_t current_time = osKernelGetTickCount();
  uint32_t frame_time = current_time - fps->last_frame_time;

  // Store frame time in ring buffer
  fps->frame_times[fps->current_index] = frame_time;
  fps->current_index = (fps->current_index + 1) % FPS_SAMPLE_COUNT;

  if (fps->sample_count < FPS_SAMPLE_COUNT) {
    fps->sample_count++;
  }

  // Calculate average frame time
  uint32_t total_time = 0;
  for (int i = 0; i < fps->sample_count; i++) {
    total_time += fps->frame_times[i];
  }

  if (total_time > 0) {
    float avg_frame_time = (float)total_time / fps->sample_count;
    fps->current_fps = 1000.0f / avg_frame_time;  // Convert ms to FPS
  }

  fps->last_frame_time = current_time;
  fps->frame_counter++;
}

// Get current FPS
float FPS_GetCurrent(FPS_Calculator_t *fps) { return fps->current_fps; }

// Check if FPS display needs to be updated
bool FPS_ShouldUpdateDisplay(FPS_Calculator_t *fps) {
  int fps_int = (int)(fps->current_fps + 0.5f);
  return (fps_int != fps->last_displayed_fps);
}

// Display FPS on LCD (optimized - only update when value changes)
void FPS_DisplayOnLCD(FPS_Calculator_t *fps, int x, int y) {
  int fps_int = (int)(fps->current_fps + 0.5f);  // Round to nearest int

  // Only update display if FPS value changed
  if (fps_int == fps->last_displayed_fps) {
    return;
  }

  // Clear previous FPS area (approximate width: 72 pixels)
  LCD_Fill(x, y, x + 72, y + 16, BLACK);

  // Create FPS string
  char fps_str[16];

  // Format: "FPS:XX"
  fps_str[0] = 'F';
  fps_str[1] = 'P';
  fps_str[2] = 'S';
  fps_str[3] = ':';

  // Convert number to string (simple implementation)
  if (fps_int >= 100) {
    fps_str[4] = '0' + (fps_int / 100);
    fps_str[5] = '0' + ((fps_int % 100) / 10);
    fps_str[6] = '0' + (fps_int % 10);
    fps_str[7] = '\0';
  } else if (fps_int >= 10) {
    fps_str[4] = '0' + (fps_int / 10);
    fps_str[5] = '0' + (fps_int % 10);
    fps_str[6] = '\0';
  } else {
    fps_str[4] = '0' + fps_int;
    fps_str[5] = '\0';
  }

  // Display on LCD with small font
  for (int i = 0; fps_str[i] != '\0'; i++) {
    LCD_ShowChar(x + i * 12, y, fps_str[i], WHITE, BLACK, 16, 0);
  }

  // Update last displayed value
  fps->last_displayed_fps = fps_int;
}

/* USER CODE END Application */
